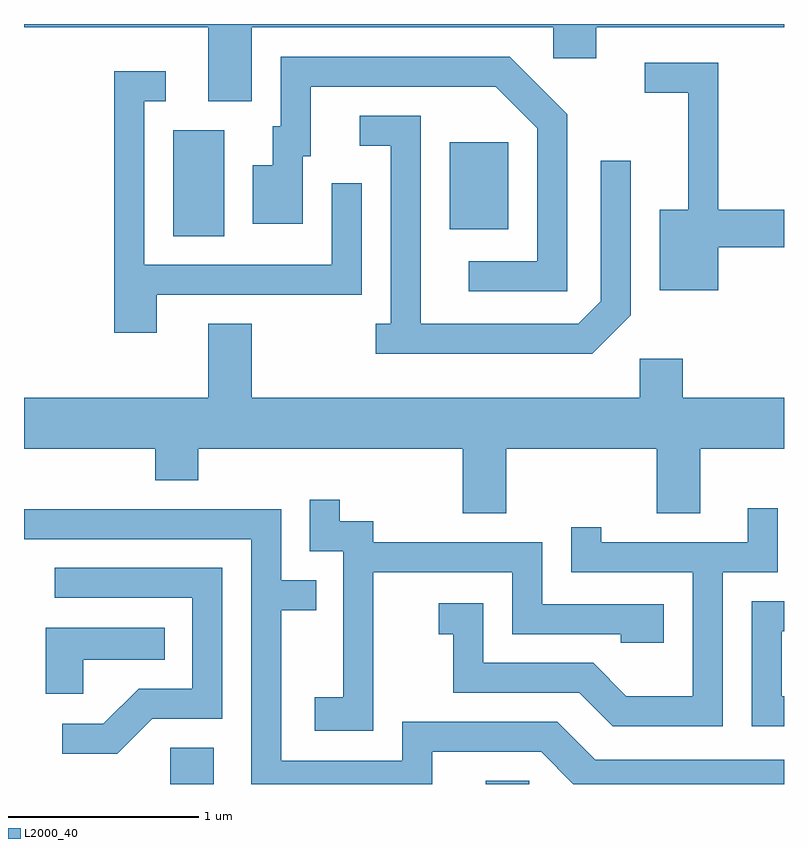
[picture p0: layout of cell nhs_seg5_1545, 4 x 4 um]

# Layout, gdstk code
import gdstk
lib = gdstk.Library(unit=1e-6, precision=1e-09)
def R(c, l, rs):  # rectangles x0, y0, x1, y1
    for r in rs: c.add(gdstk.rectangle(r[:2], r[2:], *l))
def P(c, l, *ps):  # polygons
    for p in ps: c.add(gdstk.Polygon(p, *l))
L2000_40 = (2000, 40)

nhs_seg5_1545 = lib.new_cell('nhs_seg5_1545')
R(nhs_seg5_1545, L2000_40, [(230.381,1526.072,230.609,1526.264), (232.041,1526.072,232.269,1526.089), (230.396,1528.956,230.664,1529.514), (231.851,1528.991,232.159,1529.449)])
P(nhs_seg5_1545, L2000_40, [(229.611,1530.056),(230.581,1530.056),(230.581,1529.666),(230.809,1529.666),(230.809,1530.056),(232.396,1530.056),(232.396,1529.891),(232.624,1529.891),(232.624,1530.056),(233.611,1530.056),(233.611,1530.072),(229.611,1530.072)],
  [(232.469,1529.597),(232.167,1529.899),(230.961,1529.899),(230.961,1529.534),(230.921,1529.534),(230.921,1529.329),(230.816,1529.329),(230.816,1529.021),(231.079,1529.021),(231.079,1529.376),(231.119,1529.376),(231.119,1529.741),(232.094,1529.741),(232.311,1529.524),(232.311,1528.824),(231.953,1528.824),(231.953,1528.666),(232.469,1528.666)],
  [(233.264,1528.896),(233.611,1528.896),(233.611,1529.094),(233.264,1529.094),(233.264,1529.869),(232.878,1529.869),(232.878,1529.711),(233.106,1529.711),(233.106,1529.094),(232.956,1529.094),(232.956,1528.671),(233.264,1528.671)],
  [(230.309,1528.646),(231.389,1528.646),(231.389,1529.233),(231.231,1529.233),(231.231,1528.804),(230.244,1528.804),(230.244,1529.666),(230.358,1529.666),(230.358,1529.824),(230.086,1529.824),(230.086,1528.446),(230.309,1528.446)],
  [(232.804,1528.539),(232.804,1529.353),(232.646,1529.353),(232.646,1528.612),(232.529,1528.494),(231.699,1528.494),(231.699,1529.589),(231.378,1529.589),(231.378,1529.431),(231.541,1529.431),(231.541,1528.494),(231.463,1528.494),(231.463,1528.336),(232.602,1528.336)],
  [(232.149,1527.836),(232.941,1527.836),(232.941,1527.496),(233.169,1527.496),(233.169,1527.836),(233.611,1527.836),(233.611,1528.104),(233.079,1528.104),(233.079,1528.309),(232.851,1528.309),(232.851,1528.104),(230.809,1528.104),(230.809,1528.494),(230.581,1528.494),(230.581,1528.104),(229.611,1528.104),(229.611,1527.836),(230.301,1527.836),(230.301,1527.671),(230.529,1527.671),(230.529,1527.836),(231.921,1527.836),(231.921,1527.496),(232.149,1527.496)],
  [(231.449,1527.186),(232.181,1527.186),(232.181,1526.861),(232.751,1526.861),(232.751,1526.816),(232.979,1526.816),(232.979,1527.019),(232.339,1527.019),(232.339,1527.344),(231.449,1527.344),(231.449,1527.454),(231.274,1527.454),(231.274,1527.568),(231.116,1527.568),(231.116,1527.296),(231.291,1527.296),(231.291,1526.529),(231.141,1526.529),(231.141,1526.351),(231.449,1526.351)],
  [(233.289,1527.186),(233.579,1527.186),(233.579,1527.523),(233.421,1527.523),(233.421,1527.344),(232.649,1527.344),(232.649,1527.423),(232.491,1527.423),(232.491,1527.186),(233.131,1527.186),(233.131,1526.534),(232.782,1526.534),(232.607,1526.709),(232.029,1526.709),(232.029,1527.024),(231.793,1527.024),(231.793,1526.861),(231.871,1526.861),(231.871,1526.551),(232.534,1526.551),(232.709,1526.376),(233.289,1526.376)],
  [(231.759,1526.241),(232.334,1526.241),(232.503,1526.072),(233.611,1526.072),(233.611,1526.199),(232.617,1526.199),(232.417,1526.399),(231.601,1526.399),(231.601,1526.194),(230.964,1526.194),(230.964,1526.986),(231.148,1526.986),(231.148,1527.144),(230.964,1527.144),(230.964,1527.519),(229.611,1527.519),(229.611,1527.361),(230.806,1527.361),(230.806,1526.072),(231.759,1526.072)],
  [(230.287,1526.416),(230.654,1526.416),(230.654,1527.209),(229.773,1527.209),(229.773,1527.051),(230.496,1527.051),(230.496,1526.574),(230.214,1526.574),(230.029,1526.389),(229.813,1526.389),(229.813,1526.231),(230.102,1526.231)],
  [(233.611,1526.534),(233.599,1526.534),(233.599,1526.876),(233.611,1526.876),(233.611,1527.034),(233.441,1527.034),(233.441,1526.376),(233.611,1526.376)],
  [(229.924,1526.726),(230.353,1526.726),(230.353,1526.894),(229.726,1526.894),(229.726,1526.546),(229.924,1526.546)])

lib.write_gds('nhs_seg5_1545.gds')
